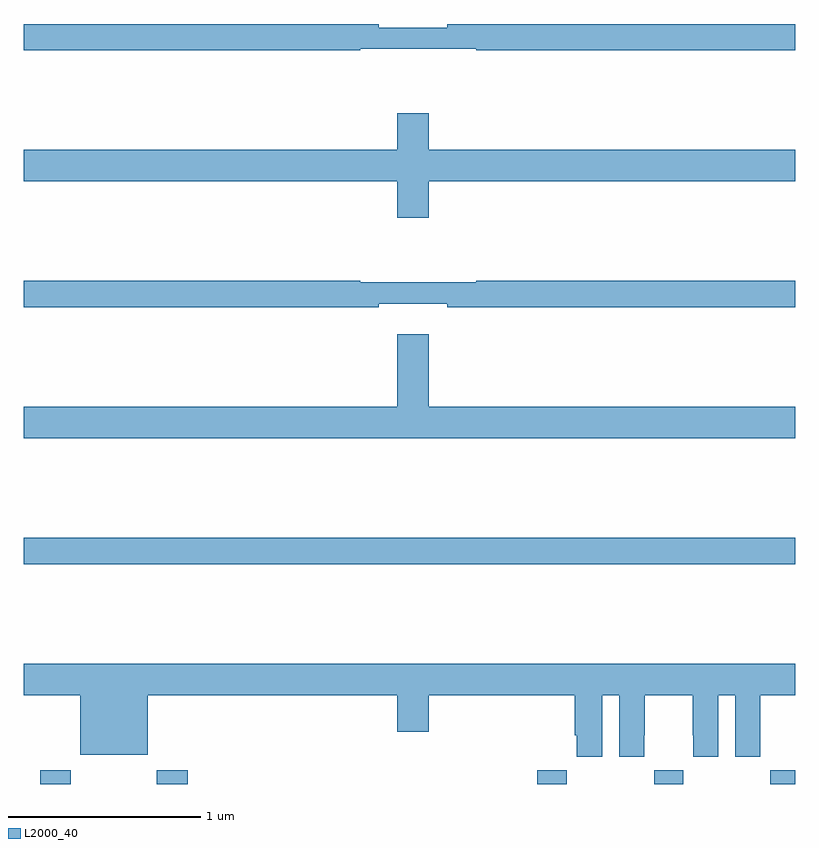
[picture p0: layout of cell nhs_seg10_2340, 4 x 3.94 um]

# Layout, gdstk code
import gdstk
lib = gdstk.Library(unit=1e-6, precision=1e-09)
def R(c, l, rs):  # rectangles x0, y0, x1, y1
    for r in rs: c.add(gdstk.rectangle(r[:2], r[2:], *l))
def P(c, l, *ps):  # polygons
    for p in ps: c.add(gdstk.Polygon(p, *l))
L2000_40 = (2000, 40)

nhs_seg10_2340 = lib.new_cell('nhs_seg10_2340')
R(nhs_seg10_2340, L2000_40, [(235.085,1322.5,235.245,1322.572), (235.69,1322.5,235.85,1322.572), (237.662,1322.5,237.815,1322.572), (238.269,1322.5,238.419,1322.572), (238.869,1322.5,239,1322.572), (235,1323.64,239,1323.776)])
P(nhs_seg10_2340, L2000_40, [(236.745,1326.312),(237.345,1326.312),(237.345,1326.304),(239,1326.304),(239,1326.44),(237.196,1326.44),(237.196,1326.421),(236.84,1326.421),(236.84,1326.44),(235,1326.44),(235,1326.304),(236.745,1326.304)],
  [(237.1,1325.624),(239,1325.624),(239,1325.788),(237.1,1325.788),(237.1,1325.977),(236.936,1325.977),(236.936,1325.788),(235,1325.788),(235,1325.624),(236.936,1325.624),(236.936,1325.436),(237.1,1325.436)],
  [(236.84,1324.991),(237.196,1324.991),(237.196,1324.972),(239,1324.972),(239,1325.108),(237.345,1325.108),(237.345,1325.101),(236.745,1325.101),(236.745,1325.108),(235,1325.108),(235,1324.972),(236.84,1324.972)],
  [(239,1324.456),(237.1,1324.456),(237.1,1324.831),(236.936,1324.831),(236.936,1324.456),(235,1324.456),(235,1324.292),(239,1324.292)],
  [(238,1322.96),(238.088,1322.96),(238.088,1322.64),(238.218,1322.64),(238.218,1322.752),(238.219,1322.752),(238.219,1322.96),(238.469,1322.96),(238.469,1322.752),(238.47,1322.752),(238.47,1322.64),(238.6,1322.64),(238.6,1322.96),(238.688,1322.96),(238.688,1322.64),(238.818,1322.64),(238.818,1322.752),(238.819,1322.752),(238.819,1322.96),(239,1322.96),(239,1323.124),(235,1323.124),(235,1322.96),(235.292,1322.96),(235.292,1322.651),(235.642,1322.651),(235.642,1322.96),(236.936,1322.96),(236.936,1322.772),(237.1,1322.772),(237.1,1322.96),(237.857,1322.96),(237.857,1322.752),(237.866,1322.752),(237.866,1322.64),(238,1322.64)])

lib.write_gds('nhs_seg10_2340.gds')
